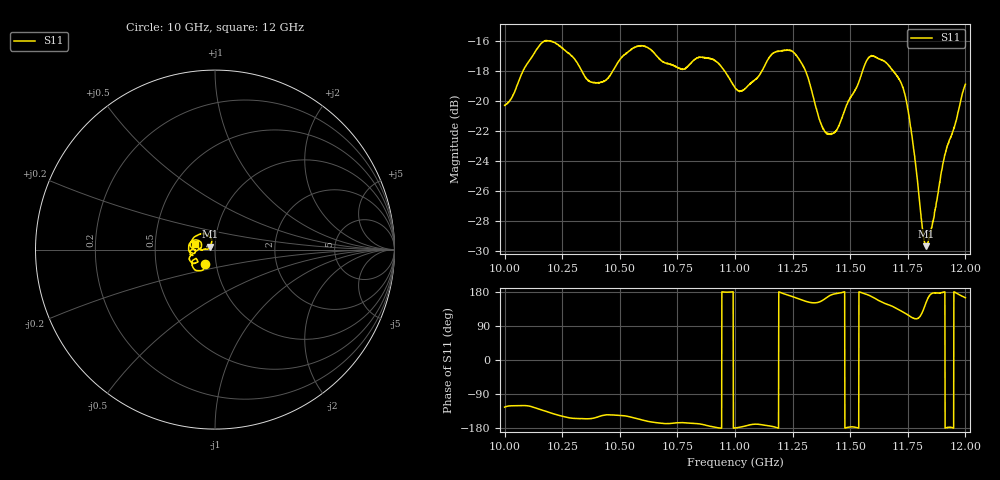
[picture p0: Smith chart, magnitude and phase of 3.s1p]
[Version] 2.0
! Rohde & Schwarz Vector Network Analyzer
! Rohde-Schwarz,ZNL20-2Port,1323001220200009,1.71.1.10-23.02.1.238
! Port Assignments:
! Nominal Port -> Actual Test Port
!  1 -> 1
! Created: GMT 2024-08-27 13:49:18
# Hz S DB R 50
[Number of Ports] 1
! freq[Hz]  S11[mag dB]  S11[ang]
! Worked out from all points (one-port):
!   2001 points, 10 GHz to 12 GHz, reference 50 ohm
!   lowest |S11| = -29.7 dB at 11.83 GHz (marker M1), VSWR 1.07, Z = 47.2 + j1.57 ohm
!   |S11| at or under -10 dB: start of sweep to end of sweep
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[Number of Frequencies] 28
[Network Data]
1e10  -20.29 -124.4
1.016e10  -16.14 -131.8
1.025e10  -16.46 -148.4
1.0381e10  -18.76 -154.1
1.0443e10  -18.57 -144.8
1.05e10  -17.24 -146.1
1.0601e10  -16.32 -158.8
1.075e10  -17.75 -165.6
1.09e10  -17.18 -176.0
1.1e10  -19.11 -179.5
1.1089e10  -18.55 -169.3
1.1168e10  -16.79 -176.1
1.125e10  -16.68 167.1
1.1307e10  -18.02 154.8
1.1369e10  -21.35 154.0
1.1397e10  -22.15 164.1
1.1439e10  -21.98 175.4
1.15e10  -19.77 -176.5
1.1572e10  -17.28 172.7
1.16e10  -17.00 165.2
1.1708e10  -18.44 133.7
1.175e10  -20.55 118.8
1.1778e10  -23.47 109.5
1.1814e10  -28.52 127.3
1.1828e10  -29.68 149.7
1.1855e10  -28.35 175.4
1.1913e10  -23.47 -179.3
1.2e10  -18.88 164.2
[End]
